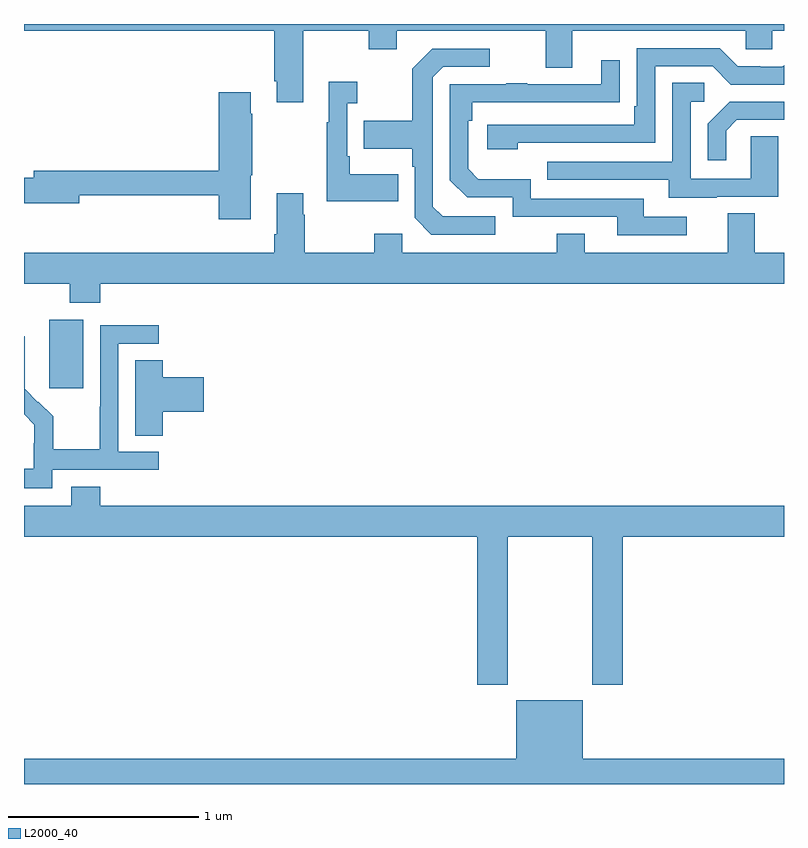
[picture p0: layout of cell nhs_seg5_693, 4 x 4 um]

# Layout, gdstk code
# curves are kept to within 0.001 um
import gdstk
lib = gdstk.Library(unit=1e-6, precision=1e-09)
def R(c, l, rs):  # rectangles x0, y0, x1, y1
    for r in rs: c.add(gdstk.rectangle(r[:2], r[2:], *l))
def P(c, l, *ps):  # polygons
    for p in ps: c.add(gdstk.Polygon(p, *l))
L2000_40 = (2000, 40)

nhs_seg5_693 = lib.new_cell('nhs_seg5_693')
R(nhs_seg5_693, L2000_40, [(155.132,850.881,155.311,851.242)])
P(nhs_seg5_693, L2000_40, [(155,852.764),(156.317,852.764),(156.317,852.499),(156.329,852.499),(156.329,852.387),(156.469,852.387),(156.469,852.764),(156.814,852.764),(156.814,852.665),(156.961,852.665),(156.961,852.764),(157.745,852.764),(157.745,852.57),(157.885,852.57),(157.885,852.764),(158.799,852.764),(158.799,852.666),(158.937,852.666),(158.937,852.764),(159,852.764),(159,852.799),(155,852.799)],
  [(157.598,852.174),(158.322,852.174),(158.322,852.576),(158.625,852.576),(158.721,852.48),(159,852.48),(159,852.582),(158.991,852.573),(158.876,852.573),(158.876,852.576),(158.757,852.576),(158.661,852.672),(158.226,852.672),(158.226,852.367),(158.213,852.367),(158.213,852.27),(157.437,852.27),(157.437,852.14),(157.598,852.14)],
  [(157.48,851.787),(157.203,851.787),(157.152,851.838),(157.152,852.519),(157.206,852.573),(157.45,852.573),(157.45,852.669),(157.149,852.669),(157.044,852.563),(157.044,852.291),(156.787,852.291),(156.787,852.143),(157.044,852.143),(157.044,852.047),(157.056,852.047),(157.056,851.778),(157.143,851.691),(157.48,851.691)],
  [(158.488,851.784),(158.263,851.784),(158.263,851.88),(157.668,851.88),(157.668,851.983),(157.391,851.983),(157.338,852.036),(157.338,852.29),(157.358,852.29),(157.358,852.387),(158.135,852.388),(158.135,852.607),(158.039,852.607),(158.039,852.483),(157.649,852.483),(157.649,852.488),(157.537,852.488),(157.537,852.483),(157.242,852.483),(157.242,851.976),(157.332,851.886),(157.572,851.886),(157.572,851.784),(158.123,851.784),(158.123,851.688),(158.488,851.688)],
  [(156.971,852.007),(156.715,852.007),(156.715,852.103),(156.702,852.103),(156.702,852.383),(156.754,852.383),(156.754,852.496),(156.605,852.496),(156.605,852.283),(156.594,852.283),(156.594,851.867),(156.971,851.867)],
  [(158.647,851.889),(158.971,851.889),(158.971,852.209),(158.826,852.209),(158.826,851.985),(158.508,851.985),(158.508,852.39),(158.581,852.39),(158.581,852.491),(158.412,852.491),(158.412,852.075),(157.753,852.075),(157.753,851.979),(158.393,851.979),(158.393,851.885),(158.647,851.885)],
  [(156.193,852.003),(156.201,852.003),(156.201,852.326),(156.193,852.326),(156.193,852.439),(156.026,852.439),(156.026,852.026),(155.051,852.026),(155.051,851.99),(155,851.99),(155,851.855),(155.29,851.855),(155.29,851.898),(156.026,851.898),(156.026,851.772),(156.193,851.772)],
  [(158.695,852.237),(158.752,852.294),(159,852.294),(159,852.39),(158.714,852.39),(158.598,852.274),(158.598,852.081),(158.695,852.081)],
  [(155.402,851.432),(159,851.432),(159,851.596),(158.845,851.596),(158.845,851.804),(158.705,851.804),(158.705,851.596),(157.951,851.596),(157.951,851.695),(157.804,851.695),(157.804,851.596),(156.99,851.596),(156.99,851.695),(156.844,851.695),(156.844,851.596),(156.477,851.596),(156.477,851.795),(156.469,851.795),(156.469,851.908),(156.329,851.908),(156.329,851.692),(156.317,851.692),(156.317,851.596),(155,851.596),(155,851.432),(155.242,851.432),(155.242,851.333),(155.402,851.333)],
  [(155.148,850.452),(155.71,850.452),(155.71,850.548),(155.496,850.548),(155.496,851.115),(155.71,851.115),(155.71,851.214),(155.4,851.214),(155.4,850.784),(155.398,850.784),(155.398,850.561),(155.153,850.561),(155.153,850.735),(155.076,850.812),(155.073,850.809),(155.003,850.88),(155.004,851.156),(155,851.156),(155,850.744),(155.054,850.69),(155.054,850.593),(155.052,850.593),(155.052,850.459),(155,850.459),(155,850.355),(155.148,850.355)],
  [(155.729,850.757),(155.947,850.757),(155.947,850.94),(155.729,850.94),(155.729,851.03),(155.585,851.03),(155.585,850.633),(155.729,850.633)],
  [(157.545,850.1),(157.99,850.1),(157.99,849.321),(158.15,849.321),(158.15,850.1),(159,850.1),(159,850.264),(155.402,850.264),(155.402,850.363),(155.249,850.363),(155.249,850.264),(155,850.264),(155,850.1),(157.385,850.1),(157.385,849.321),(157.545,849.321)],
  [(159,848.932),(157.942,848.932),(157.942,849.241),(157.592,849.241),(157.592,848.932),(155,848.932),(155,848.799),(159,848.799)])

lib.write_gds('nhs_seg5_693.gds')
